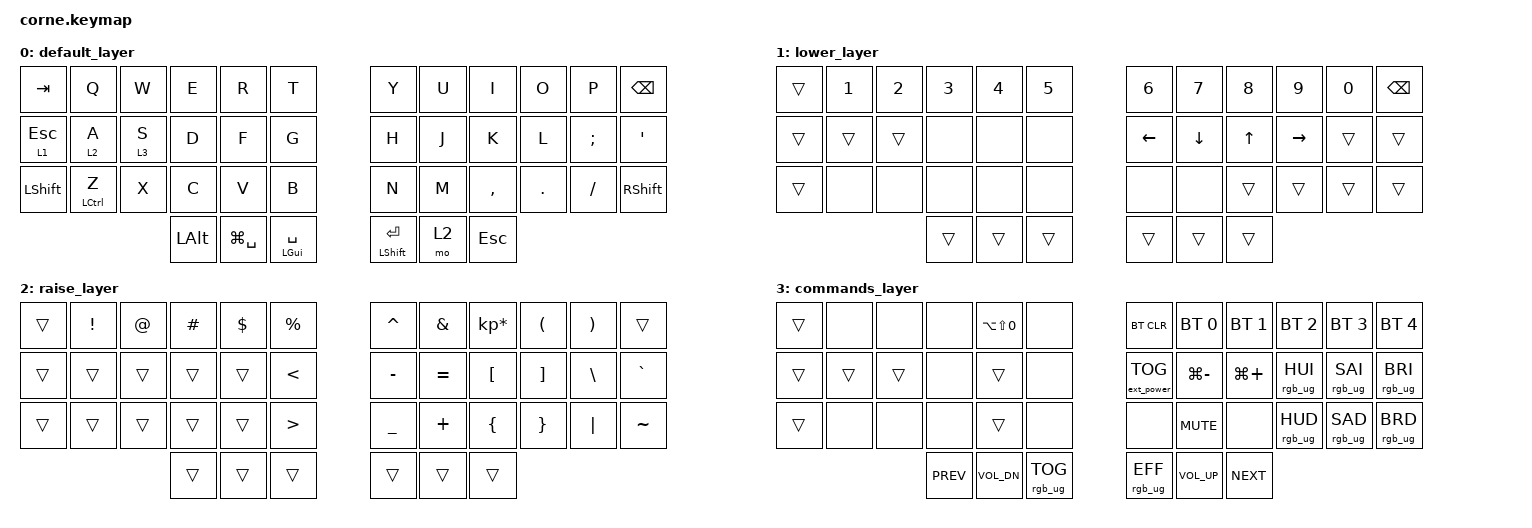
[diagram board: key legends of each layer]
#include <behaviors.dtsi>
#include <dt-bindings/zmk/keys.h>
#include <dt-bindings/zmk/bt.h>
#include <dt-bindings/zmk/rgb.h>
#include <dt-bindings/zmk/ext_power.h>

/*
 * Temporarily here because nice nano v2 spi is not defined on ZMk Yet
 * Source: https://github.com/zmkfirmware/zmk/blob/main/app/boards/shields/reviung41/boards/nice_nano.overlay
 * GitHub Issue: https://github.com/zmkfirmware/zmk/issues/885
 */

&spi1 {
   compatible = "nordic,nrf-spim";
   status = "okay";
   mosi-pin = <6>;
   // Unused pins, needed for SPI definition, but not used by the ws2812 driver itself.
   sck-pin = <5>;
   miso-pin = <7>;

   led_strip: ws2812@0 {
      compatible = "worldsemi,ws2812-spi";
      label = "WS2812";

      /* SPI */
      reg = <0>; /* ignored, but necessary for SPI bindings */
      spi-max-frequency = <4000000>;

      /* WS2812 */
      chain-length = <27>; /* arbitrary; change at will */
      spi-one-frame = <0x70>;
      spi-zero-frame = <0x40>;
   };
};

/ {
   chosen {
      zmk,underglow = &led_strip;
   };
};

/*
 * Temporarily here because nice nano v2 spi is not defined on ZMk YET
 */

/ {
        ext-power {
            init-delay-ms = <500>;
        };
        
        behaviors {
            hm: homerow_mods {
                compatible = "zmk,behavior-hold-tap";
                label = "HOMEROW_MODS";
                #binding-cells = <2>;
                tapping-term-ms = <300>;
                quick_tap_ms = <0>;
                flavor = "tap-preferred";
                bindings = <&kp>, <&kp>;
            };
        };
   
        keymap {
                compatible = "zmk,keymap";

                default_layer {
                        bindings = <
   &kp TAB       &kp Q       &kp W          &kp E &kp R &kp T   &kp Y &kp U  &kp I     &kp O   &kp P    &kp BSPC
   &lt 1 ESC     &lt 2 A     &lt 3 S        &kp D &kp F &kp G   &kp H &kp J  &kp K     &kp L   &kp SEMI &kp SQT
   &kp LSHFT     &hm LCTRL Z &kp X          &kp C &kp V &kp B   &kp N &kp M  &kp COMMA &kp DOT &kp FSLH &kp RSHFT
                  &kp LALT &kp LG(SPACE) &hm LGUI SPACE   &hm LSHFT RET &mo 2 &kp ESC
                        >;
                };
                
                lower_layer {
                        bindings = <
   &trans     &kp N1          &kp N2          &kp N3          &kp N4          &kp N5            &kp N6     &kp N7          &kp N8           &kp N9          &kp N0          &kp BSPC
   &trans     &trans          &trans          &none           &none           &none             &kp LEFT   &kp DOWN        &kp UP           &kp RIGHT       &trans          &trans
   &trans     &none           &none           &none           &none           &none             &none      &none           &trans           &trans         &trans        &trans
                                              &trans        &trans          &trans              &trans  &trans   &trans
                        >;
                };

                raise_layer {
                        bindings = <
   &trans  &kp EXCL  &kp AT  &kp HASH  &kp DLLR  &kp PRCNT   &kp CARET         &kp AMPS    &kp KP_MULTIPLY &kp LPAR &kp RPAR &trans
   &trans  &trans    &trans  &trans    &trans    &kp LT      &kp MINUS         &kp EQUAL   &kp LBKT        &kp RBKT &kp BSLH &kp GRAVE
   &trans  &trans    &trans  &trans    &trans    &kp GT      &kp UNDERSCORE    &kp PLUS    &kp LBRC        &kp RBRC &kp PIPE &kp TILDE
                                   &trans &trans &trans   &trans &trans &trans
                        >;
                };
                
                commands_layer {
                        bindings = <
   &trans  &none    &none   &none      &kp LA(LS(N0))      &none              &bt BT_CLR             &bt BT_SEL 0           &bt BT_SEL 1    &bt BT_SEL 2    &bt BT_SEL 3     &bt BT_SEL 4
   &trans  &trans   &trans  &none      &trans              &none              &ext_power EP_TOG      &kp LG(MINUS)          &kp LG(PLUS)    &rgb_ug RGB_HUI &rgb_ug RGB_SAI &rgb_ug RGB_BRI
   &trans  &none    &none   &none      &trans              &none              &none                  &kp K_MUTE             &none           &rgb_ug RGB_HUD &rgb_ug RGB_SAD &rgb_ug RGB_BRD
                                   &kp K_PREV &kp K_VOL_DN &rgb_ug RGB_TOG    &rgb_ug RGB_EFF &kp K_VOL_UP &kp K_NEXT
                        >;
                };
        };
};
